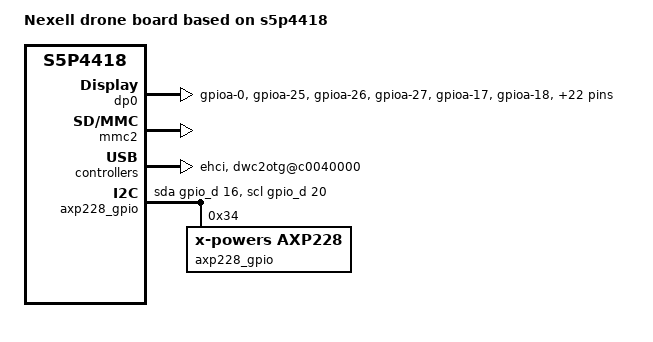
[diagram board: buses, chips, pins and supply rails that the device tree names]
/*
 * (C) Copyright 2016 Nexell
 * Youngbok, Park <park@nexell.co.kr>
 *
 * SPDX-License-Identifier:      GPL-2.0+
 */

/dts-v1/;
#include "s5p4418.dtsi"
#include "s5p4418-drone_ref-axp228.dtsi"

/ {
	model = "Nexell drone board based on s5p4418";
	cpu-model = "S5p4418";

	compatible = "nexell,s5p4418";

	pinctrl@C0010000 {
		/delete-node/ gmac_txd;
		/delete-node/ gmac_rxd;
		/delete-node/ gmac_txen;
		/delete-node/ gmac_mdc;
		/delete-node/ gmac_mdio;
		/delete-node/ gmac_rxclk;
		/delete-node/ gmac_txclk;

		dp_rgb_vclk: dp-rgb-vclk {
			nexell,pins = "gpioa-0";
			nexell,pin-function = <1>;
			nexell,pin-pull = <2>;
			nexell,pin-strength = <0>;
		};

		dp_rgb_vsync: dp-rgb-vsync {
			nexell,pins = "gpioa-25";
			nexell,pin-function = <1>;
			nexell,pin-pull = <2>;
			nexell,pin-strength = <0>;
		};

		dp_rgb_hsync: dp-rgb-hsync {
			nexell,pins = "gpioa-26";
			nexell,pin-function = <1>;
			nexell,pin-pull = <2>;
			nexell,pin-strength = <0>;
		};

		dp_rgb_de: dp-rgb-de {
			nexell,pins = "gpioa-27";
			nexell,pin-function = <1>;
			nexell,pin-pull = <2>;
			nexell,pin-strength = <0>;
		};

		dp_rgb_B: dp-rgb-B {
			nexell,pins = "gpioa-1", "gpioa-2", "gpioa-3", "gpioa-4",
				      "gpioa-5", "gpioa-6", "gpioa-7", "gpioa-8";
			nexell,pin-function = <1>;
			nexell,pin-pull = <2>;
			nexell,pin-strength = <0>;
		};

		dp_rgb_G: dp-rgb-G {
			nexell,pins = "gpioa-9", "gpioa-10", "gpioa-11", "gpioa-12",
				      "gpioa-13", "gpioa-14", "gpioa-15", "gpioa-16";
			nexell,pin-function = <1>;
			nexell,pin-pull = <2>;
			nexell,pin-strength = <0>;
		};

		dp_rgb_R: dp-rgb-R {
			nexell,pins = "gpioa-17", "gpioa-18", "gpioa-19", "gpioa-20",
				      "gpioa-21", "gpioa-22", "gpioa-23", "gpioa-24";
			nexell,pin-function = <1>;
			nexell,pin-pull = <2>;
			nexell,pin-strength = <0>;
		};

	};

	dp0:dp@c0102800 {
		#address-cells = <1>;
		#size-cells = <0>;
		compatible = "nexell,nexell-display";
		reg = <0xc0102800 0x100>;
		index = <0>;
		status = "okay";

		module = <0>;
		lcd-type = "rgb";

		pinctrl-names = "default";
		pinctrl-0 = <&dp_rgb_vclk &dp_rgb_vsync &dp_rgb_hsync
			&dp_rgb_de &dp_rgb_R &dp_rgb_G &dp_rgb_B>;
		/* enable-gpios = <&gpio_c 2 0>; */

		dp-device {
			format = <0>;
		};

		dp-sync {
			h_active_len = <1024>;
			h_front_porch = <30>;
			h_back_porch = <30>;
			h_sync_width = <4>;

			v_active_len = <600>;
			v_front_porch = <10>;
			v_back_porch = <10>;
			v_sync_width = <2>;

			h_sync_invert = <1>;
			v_sync_invert = <1>;
			pixelclk-active = <1>;
			de-active = <1>;
		};

		dp-ctrl {
			clk_src_lv0 = <0>;
			clk_div_lv0 = <9>;
			clk_src_lv1 = <7>;
			clk_div_lv1 = <1>;
			out_format = <3>;
		};

		dp-planes {
			layer_top {
				screen_width = <1024>;
				screen_height = <600>;
				back_color = <0x0>;
			};

			layer_1 {
				fb_base = <0x7E000000>;
				width = <1024>;
				height = <600>;
				format = <0x06530000>;
				pixel_byte = <4>;
			};
		};
	};

	mmc2:mmc@c0069000 {
		nexell,drive_dly = <0x0>;
		nexell,drive_shift = <0x03>;
		nexell,sample_dly = <0x00>;
		nexell,sample_shift = <0x02>;
		frequency = <50000000>;
		status ="okay";
	};

	mmc0:mmc@c0062000 {
		frequency = <50000000>;
		nexell,drive_dly = <0x0>;
		nexell,drive_shift = <0x03>;
		nexell,sample_dly = <0x00>;
		nexell,sample_shift = <0x02>;
		status = "disabled";
	};

	ehci:usbhost@c0030000 {
		status = "okay";
	};

	dwc2otg@c0040000 {
		status = "okay";
	};

	axp228_gpio:i2c_gpio@0 {
		compatible = "i2c-gpio";
		#address-cells = <1>;
		#size-cells = <0>;
		gpios = <&gpio_d 16 1>,	/* SDA */
		      <&gpio_d 20 1>;	/* SCL */

		i2c-gpio,delay-us = <3>;
		axp228_gpio@34 {
			compatible = "x-powers,axp228";
			reg = <0x34>;
		};
	};
};
